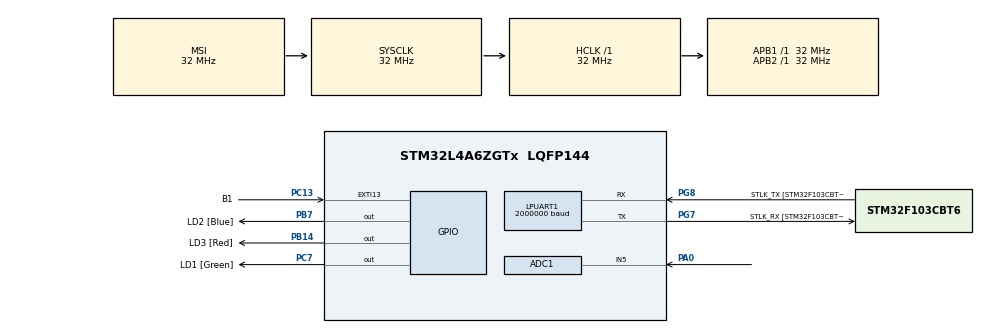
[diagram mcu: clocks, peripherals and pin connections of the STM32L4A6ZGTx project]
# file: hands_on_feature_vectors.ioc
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ADC1.Channel-0\#ChannelRegularConversion=ADC_CHANNEL_5
ADC1.DMAContinuousRequests=ENABLE
ADC1.ExternalTrigConv=ADC_EXTERNALTRIG_T3_TRGO
ADC1.NbrOfConversionFlag=1
ADC1.OffsetNumber-0\#ChannelRegularConversion=ADC_OFFSET_NONE
ADC1.Rank-0\#ChannelRegularConversion=1
ADC1.SamplingTime-0\#ChannelRegularConversion=ADC_SAMPLETIME_2CYCLES_5
ADC1.master=1
Dma.ADC1.0.Direction=DMA_PERIPH_TO_MEMORY
Dma.ADC1.0.Instance=DMA1_Channel1
Dma.ADC1.0.MemDataAlignment=DMA_MDATAALIGN_HALFWORD
Dma.ADC1.0.MemInc=DMA_MINC_ENABLE
Dma.ADC1.0.Mode=DMA_CIRCULAR
Dma.ADC1.0.PeriphDataAlignment=DMA_PDATAALIGN_HALFWORD
Dma.ADC1.0.PeriphInc=DMA_PINC_DISABLE
Dma.ADC1.0.Priority=DMA_PRIORITY_LOW
Dma.Request0=ADC1
LPUART1.AutoBaudRateEnableParam=UART_ADVFEATURE_AUTOBAUDRATE_DISABLE
LPUART1.BaudRate=2000000
LPUART1.DMADisableonRxErrorParam=UART_ADVFEATURE_DMA_ENABLEONRXERROR
LPUART1.DataInvertParam=UART_ADVFEATURE_DATAINV_DISABLE
LPUART1.MSBFirstParam=UART_ADVFEATURE_MSBFIRST_DISABLE
LPUART1.Mode=UART_MODE_TX_RX
LPUART1.OneBitSampling=UART_ONE_BIT_SAMPLE_DISABLE
LPUART1.OverrunDisableParam=UART_ADVFEATURE_OVERRUN_ENABLE
LPUART1.Parity=UART_PARITY_NONE
LPUART1.RxPinLevelInvertParam=UART_ADVFEATURE_RXINV_DISABLE
LPUART1.StopBits=UART_STOPBITS_1
LPUART1.SwapParam=UART_ADVFEATURE_SWAP_DISABLE
LPUART1.TxPinLevelInvertParam=UART_ADVFEATURE_TXINV_DISABLE
LPUART1.WordLength=UART_WORDLENGTH_8B
Mcu.Family=STM32L4
Mcu.Name=STM32L4A6ZGTx
Mcu.Package=LQFP144
NVIC.DMA1_Channel1_IRQn=true\:0\:0\:false\:false\:true\:false\:true\:true
NVIC.EXTI15_10_IRQn=true\:0\:0\:false\:false\:true\:true\:true\:true
NVIC.PriorityGroup=NVIC_PRIORITYGROUP_4
PA0.Signal=ADCx_IN5
PA13\ (JTMS/SWDIO).GPIO_Label=TMS
PA13\ (JTMS/SWDIO).Mode=Trace_Asynchronous_SW
PA13\ (JTMS/SWDIO).Signal=SYS_JTMS-SWDIO
PA14\ (JTCK/SWCLK).GPIO_Label=TCK
PA14\ (JTCK/SWCLK).Mode=Trace_Asynchronous_SW
PA14\ (JTCK/SWCLK).Signal=SYS_JTCK-SWCLK
PB14.GPIO_Label=LD3 [Red]
PB14.Signal=GPIO_Output
PB3\ (JTDO/TRACESWO).GPIO_Label=SWO
PB3\ (JTDO/TRACESWO).Mode=Trace_Asynchronous_SW
PB3\ (JTDO/TRACESWO).Signal=SYS_JTDO-SWO
PB7.GPIO_Label=LD2 [Blue]
PB7.Signal=GPIO_Output
PC13.GPIO_Label=B1
PC13.Signal=GPXTI13
PC14-OSC32_IN\ (PC14).Mode=LSE-External-Oscillator
PC14-OSC32_IN\ (PC14).Signal=RCC_OSC32_IN
PC15-OSC32_OUT\ (PC15).Mode=LSE-External-Oscillator
PC15-OSC32_OUT\ (PC15).Signal=RCC_OSC32_OUT
PC7.GPIO_Label=LD1 [Green]
PC7.Signal=GPIO_Output
PG7.GPIO_Label=STLK_RX [STM32F103CBT6_PA3]
PG7.Mode=Asynchronous
PG7.Signal=LPUART1_TX
PG8.GPIO_Label=STLK_TX [STM32F103CBT6_PA2]
PG8.Mode=Asynchronous
PG8.Signal=LPUART1_RX
PH1-OSC_OUT\ (PH1).Signal=RCC_OSC_OUT
ProjectManager.HeapSize=0x200
ProjectManager.StackSize=0x400
ProjectManager.TargetToolchain=STM32CubeIDE
RCC.ADCCLockSelection=RCC_ADCCLKSOURCE_SYSCLK
RCC.ADCFreq_Value=32000000
RCC.AHBFreq_Value=32000000
RCC.APB1Freq_Value=32000000
RCC.APB1TimFreq_Value=32000000
RCC.APB2Freq_Value=32000000
RCC.APB2TimFreq_Value=32000000
RCC.CortexFreq_Value=32000000
RCC.FLatency=FLASH_LATENCY_1
RCC.HCLKFreq_Value=32000000
RCC.HSE_VALUE=8000000
RCC.HSI48_VALUE=48000000
RCC.HSI_VALUE=16000000
RCC.MSIClockRange=RCC_MSIRANGE_10
RCC.MSI_VALUE=32000000
RCC.PLLN=71
RCC.PLLR=RCC_PLLR_DIV6
RCC.PLLSAI1N=24
RCC.SYSCLKFreq_VALUE=32000000
RCC.USBFreq_Value=384000000
RCC.VCOOutputFreq_Value=2272000000
SH.ADCx_IN5.0=ADC1_IN5,IN5-Single-Ended
TIM3.AutoReloadPreload=TIM_AUTORELOAD_PRELOAD_ENABLE
TIM3.Period=80
TIM3.Prescaler=36
TIM3.TIM_MasterOutputTrigger=TIM_TRGO_UPDATE
VP_TIM3_VS_ClockSourceINT.Mode=Internal
board=NUCLEO-L4A6ZG

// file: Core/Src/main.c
/* USER CODE BEGIN Header */
/**
  ******************************************************************************
  * @file           : main.c
  * @brief          : Main program body
  ******************************************************************************
  * @attention
  *
  * <h2><center>&copy; Copyright (c) 2021 STMicroelectronics.
  * All rights reserved.</center></h2>
  *
  * This software component is licensed by ST under BSD 3-Clause license,
  * the "License"; You may not use this file except in compliance with the
  * License. You may obtain a copy of the License at:
  *                        opensource.org/licenses/BSD-3-Clause
  *
  ******************************************************************************
  */
/* USER CODE END Header */
#include "main.h"
#include "adc.h"
#include "dma.h"
#include "usart.h"
#include "tim.h"
#include "gpio.h"

/* USER CODE BEGIN Includes */
#include <stdio.h>
#include "retarget.h"
#include "config.h"
#include "arm_math.h"
#include "spectrogram.h"
/* USER CODE END Includes */

/* USER CODE BEGIN PM */
//#define DEBUG 0
#define DEBUG_PRINT(...) do{ if (DEBUG) printf(__VA_ARGS__ ); } while( 0 )
/* USER CODE END PM */

/* USER CODE BEGIN PV */
volatile uint8_t counting_cycles = 0;

volatile int state = 0;
volatile int bounce = 0;
volatile uint16_t ADCBuffer[2*SAMPLES_PER_MELVEC]; /* ADC write buffer (via DMA) */
volatile uint16_t* ADCDblBuffer[2] = {&ADCBuffer[0], &ADCBuffer[SAMPLES_PER_MELVEC]};

static volatile uint8_t cur_melvec = 0;

//static q15_t *mel_vectors[N_MELVECS];
// Contiguous array in memory
//static q15_t mel_vectors_flat[N_MELVECS * MELVEC_LENGTH];

char hex_encoded_buffer[sizeof(q15_t) * 2 * N_MELVECS * MELVEC_LENGTH + 1];
char hex_buf[sizeof(q15_t) * 2*SAMPLES_PER_MELVEC+1];
uint16_t data_to_print[2*SAMPLES_PER_MELVEC];
/* USER CODE END PV */

void SystemClock_Config(void);
/* USER CODE BEGIN PFP */
void hex_encode(char* s, const uint8_t* buf, size_t len);
void print_buffer(volatile uint16_t *buffer, size_t len);
void print_buffer2(volatile uint16_t *buffer, size_t len);
uint32_t get_signal_power(uint16_t *buffer, size_t len);
void start_cycle_count();
void stop_cycle_count(char *s);
/* USER CODE END PFP */

/* USER CODE BEGIN 0 */
void HAL_GPIO_EXTI_Callback(uint16_t GPIO_Pin) {
	if ((GPIO_Pin == B1_Pin) & !bounce) {
		HAL_ADC_Start_DMA(&hadc1, (uint32_t *) ADCBuffer, 2 * SAMPLES_PER_MELVEC);
		HAL_TIM_Base_Start(&htim3);
		bounce = 1;
	}
}

void HAL_ADC_ConvHalfCpltCallback(ADC_HandleTypeDef *hadc) {
	//print_buffer2(ADCDblBuffer[0], SAMPLES_PER_MELVEC);
	//Spectrogram_Format((q15_t *)ADCDblBuffer[0]);
	//Spectrogram_Compute((q15_t *)ADCDblBuffer[0], mel_vectors[cur_melvec]);
	for (uint16_t i = 0; i<SAMPLES_PER_MELVEC; i++){
		data_to_print[i]= ADCBuffer[i];
	}
	cur_melvec++;
	printf("half DMA!!\n");
}

void HAL_ADC_ConvCpltCallback(ADC_HandleTypeDef *hadc) {

	//Spectrogram_Format((q15_t *)ADCDblBuffer[1]);
	//Spectrogram_Compute((q15_t *)ADCDblBuffer[1], mel_vectors[cur_melvec]);
	for (uint16_t i = SAMPLES_PER_MELVEC; i<2*SAMPLES_PER_MELVEC; i++){
			data_to_print[i]= ADCBuffer[i];
		}
	print_buffer2(data_to_print, 2*SAMPLES_PER_MELVEC);
	cur_melvec++;
	if (cur_melvec == NBR_MESURES)
	{
		HAL_TIM_Base_Stop(&htim3);
		HAL_ADC_Stop_DMA(&hadc1);
		cur_melvec = 0;
	}
	bounce = 0;
	printf("all DMA--\n");
}

// Starts the cycle counter
void start_cycle_count() {
	uint32_t prim = __get_PRIMASK();
	__disable_irq();
	if (counting_cycles) {
		DEBUG_PRINT("Tried re-entrant cycle counting.\r\n");
		Error_Handler();
	} else {
		counting_cycles = 1;
	}
	if (!prim) {
		__enable_irq();
	}
	DWT->CTRL |= 1 ; // Enable the cycle counter
	DWT->CYCCNT = 0; // Reset the cycle counter
}

// Stop the cycle counter
// char *s allows to print a header (title of the measured block) before reporting the number of cycles
void stop_cycle_count(char *s) {
	uint32_t res = DWT->CYCCNT; // Read the cycle counter
	counting_cycles = 0;
	printf("[PERF] ");
	printf(s);
	printf(" %lu cycles.\r\n", res);
}

void hex_encode(char* s, const uint8_t* buf, size_t len) {
  s[2*len] = '\0'; // A string terminated by a zero char.
  for (size_t i=0; i<len; i++) {
      s[i*2  ] = "0123456789abcdef"[buf[i] >> 4];
      s[i*2+1] = "0123456789abcdef"[buf[i] & 0xF];
  }
}

void print_buffer(volatile uint16_t *buffer, size_t len) {
	hex_encode(hex_encoded_buffer, (uint8_t*)buffer, sizeof(uint16_t) * len);
	printf("DF:HEX:%s\r\n", hex_encoded_buffer);
}
void print_buffer2(volatile uint16_t *buffer, size_t len) {
	hex_encode(hex_buf,(uint8_t*)buffer, sizeof(uint16_t) * len);
	printf("DF:HEX:%s\r\n", hex_buf);
}
/* USER CODE END 0 */

int main(void)
{

  /* MCU Configuration--------------------------------------------------------*/

  /* Reset of all peripherals, Initializes the Flash interface and the Systick. */
  HAL_Init();

  /* USER CODE BEGIN Init */
  // Reshape the contiguous memory array in a 2D array.
  /*for (int i = 0; i < N_MELVECS; i++)
  {
	  mel_vectors[i] = &mel_vectors_flat[i*MELVEC_LENGTH];
  }*/
  /* USER CODE END Init */

  /* Configure the system clock */
  SystemClock_Config();

  /* Initialize all configured peripherals */
  MX_GPIO_Init();
  MX_DMA_Init();
  MX_LPUART1_UART_Init();
  MX_TIM3_Init();
  MX_ADC1_Init();
  /* USER CODE BEGIN 2 */
  RetargetInit(&hlpuart1);
  printf("Hello world!\r\n");
  state=0;
  /* USER CODE END 2 */

  /* Infinite loop */
  /* USER CODE BEGIN WHILE */
  while (1)
  {
	HAL_GPIO_WritePin(LD1_GPIO_Port, LD1_Pin, GPIO_PIN_SET);
	HAL_Delay(500);
	HAL_GPIO_WritePin(LD1_GPIO_Port, LD1_Pin, GPIO_PIN_RESET);
	HAL_Delay(500);
    /* USER CODE END WHILE */

  }
}

void SystemClock_Config(void)
{
  RCC_OscInitTypeDef RCC_OscInitStruct = {0};
  RCC_ClkInitTypeDef RCC_ClkInitStruct = {0};

  /** Configure the main internal regulator output voltage
  */
  if (HAL_PWREx_ControlVoltageScaling(PWR_REGULATOR_VOLTAGE_SCALE1) != HAL_OK)
  {
    Error_Handler();
  }

  /** Initializes the RCC Oscillators according to the specified parameters
  * in the RCC_OscInitTypeDef structure.
  */
  RCC_OscInitStruct.OscillatorType = RCC_OSCILLATORTYPE_MSI;
  RCC_OscInitStruct.MSIState = RCC_MSI_ON;
  RCC_OscInitStruct.MSICalibrationValue = 0;
  RCC_OscInitStruct.MSIClockRange = RCC_MSIRANGE_10;
  RCC_OscInitStruct.PLL.PLLState = RCC_PLL_NONE;
  if (HAL_RCC_OscConfig(&RCC_OscInitStruct) != HAL_OK)
  {
    Error_Handler();
  }

  /** Initializes the CPU, AHB and APB buses clocks
  */
  RCC_ClkInitStruct.ClockType = RCC_CLOCKTYPE_HCLK|RCC_CLOCKTYPE_SYSCLK
                              |RCC_CLOCKTYPE_PCLK1|RCC_CLOCKTYPE_PCLK2;
  RCC_ClkInitStruct.SYSCLKSource = RCC_SYSCLKSOURCE_MSI;
  RCC_ClkInitStruct.AHBCLKDivider = RCC_SYSCLK_DIV1;
  RCC_ClkInitStruct.APB1CLKDivider = RCC_HCLK_DIV1;
  RCC_ClkInitStruct.APB2CLKDivider = RCC_HCLK_DIV1;

  if (HAL_RCC_ClockConfig(&RCC_ClkInitStruct, FLASH_LATENCY_1) != HAL_OK)
  {
    Error_Handler();
  }
}

void Error_Handler(void)
{
  __disable_irq();
  while (1)
  {
  }
}
